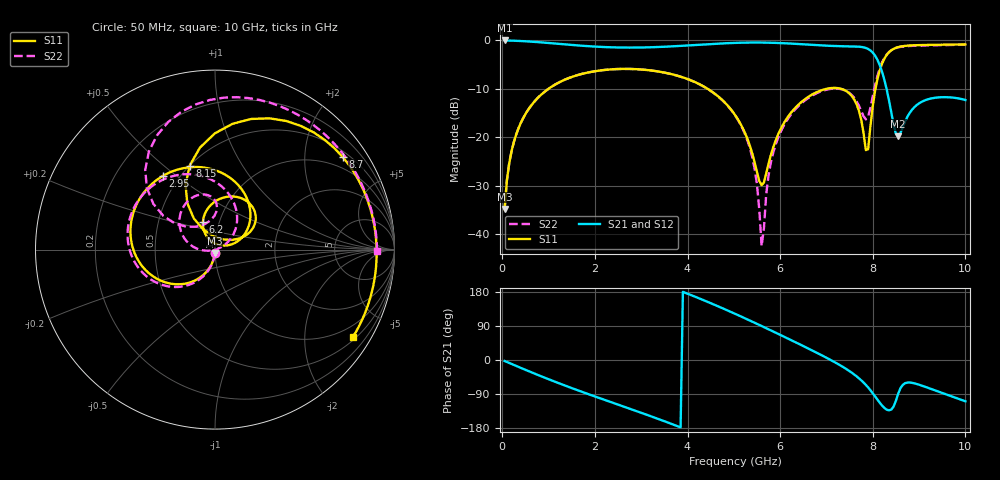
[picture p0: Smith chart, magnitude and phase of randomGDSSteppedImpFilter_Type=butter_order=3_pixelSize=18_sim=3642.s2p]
! freq	dB(S11)	phase(S11)	dB(S12)	phase(S12)
!  dB(S21)	phase(S21)	dB(S22)	phase(S22)
!S-par simulation data
#  GHz  S  DB  R 50
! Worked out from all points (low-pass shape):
!   200 points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, 50 MHz to 10 GHz, reference 50 ohm
!   highest |S21| = 0.00 dB at 50 MHz (marker M1); lowest = -19.9 dB at 8.55 GHz (marker M2)
!   |S21| within 3 dB of the highest: start of sweep to 8.039 GHz
!   lowest |S11| = -34.9 dB at 50 MHz (marker M3), VSWR 1.04, Z = 49.9 - j1.8 ohm
!   |S11| at or under -10 dB: start of sweep to 997.3 MHz; 4.434 GHz to 7.004 GHz (2.57 GHz wide, 44.9 % of centre); 7.314 GHz to 8.059 GHz (744.5 MHz wide, 9.69 % of centre)
!   |S22| runs from -42.5 to -0.9 dB; largest |S21 - S12| = 0
!   S11 on the Smith chart (normalised r, x): 50 MHz: 1.00, -0.04; 2.95 GHz: 0.41, +0.45; 6.2 GHz: 0.83, +0.27; 8.15 GHz: 0.50, +0.62; 8.7 GHz: 0.65, +2.95; 10 GHz: 0.59, -3.34
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0.05  -34.87 -92.7  -0.00 -2.6  -0.00 -2.6  -34.86 -92.5
0.2  -22.89 -101.3  -0.04 -10.5  -0.04 -10.5  -22.89 -100.4
0.5  -15.22 -117.6  -0.17 -26.0  -0.17 -26.0  -15.22 -115.4
1.75  -6.85 -179.9  -1.12 -85.3  -1.12 -85.3  -6.84 -171.9
2.95  -5.97 125.3  -1.47 -137.1  -1.47 -137.1  -5.97 139.6
3.4  -6.47 104.3  -1.35 -157.0  -1.35 -157.0  -6.47 121.1
4.25  -9.01 62.6  -0.89 162.7  -0.89 162.7  -9.03 83.9
5.05  -15.74 23.8  -0.50 120.7  -0.50 120.7  -15.84 45.0
5.45  -25.24 24.3  -0.43 98.2  -0.43 98.2  -26.58 24.0
5.6  -29.92 69.1  -0.44 89.7  -0.44 89.7  -42.53 -76.1
5.8  -23.67 119.8  -0.48 78.1  -0.48 78.1  -25.23 -174.1
6.2  -15.38 113.2  -0.63 54.7  -0.63 54.7  -15.75 163.9
6.7  -11.13 86.7  -0.92 24.7  -0.92 24.7  -11.35 136.2
7.5  -11.00 36.3  -1.22 -29.6  -1.22 -29.6  -10.90 91.8
7.7  -14.50 24.6  -1.29 -48.1  -1.29 -48.1  -13.47 87.9
7.85  -22.66 50.2  -1.56 -65.7  -1.56 -65.7  -16.31 111.7
8.15  -6.21 106.7  -5.08 -112.6  -5.08 -112.6  -5.81 137.8
8.35  -2.43 74.5  -12.36 -132.9  -12.36 -132.9  -2.40 110.0
8.55  -1.37 49.8  -19.86 -88.6  -19.86 -88.6  -1.43 86.7
8.7  -1.12 36.0  -16.71 -61.1  -16.71 -61.1  -1.21 73.3
9.3  -0.91 -1.3  -11.92 -78.3  -11.92 -78.3  -1.00 34.6
10  -0.82 -32.5  -12.32 -109.0  -12.32 -109.0  -0.89 -0.5
